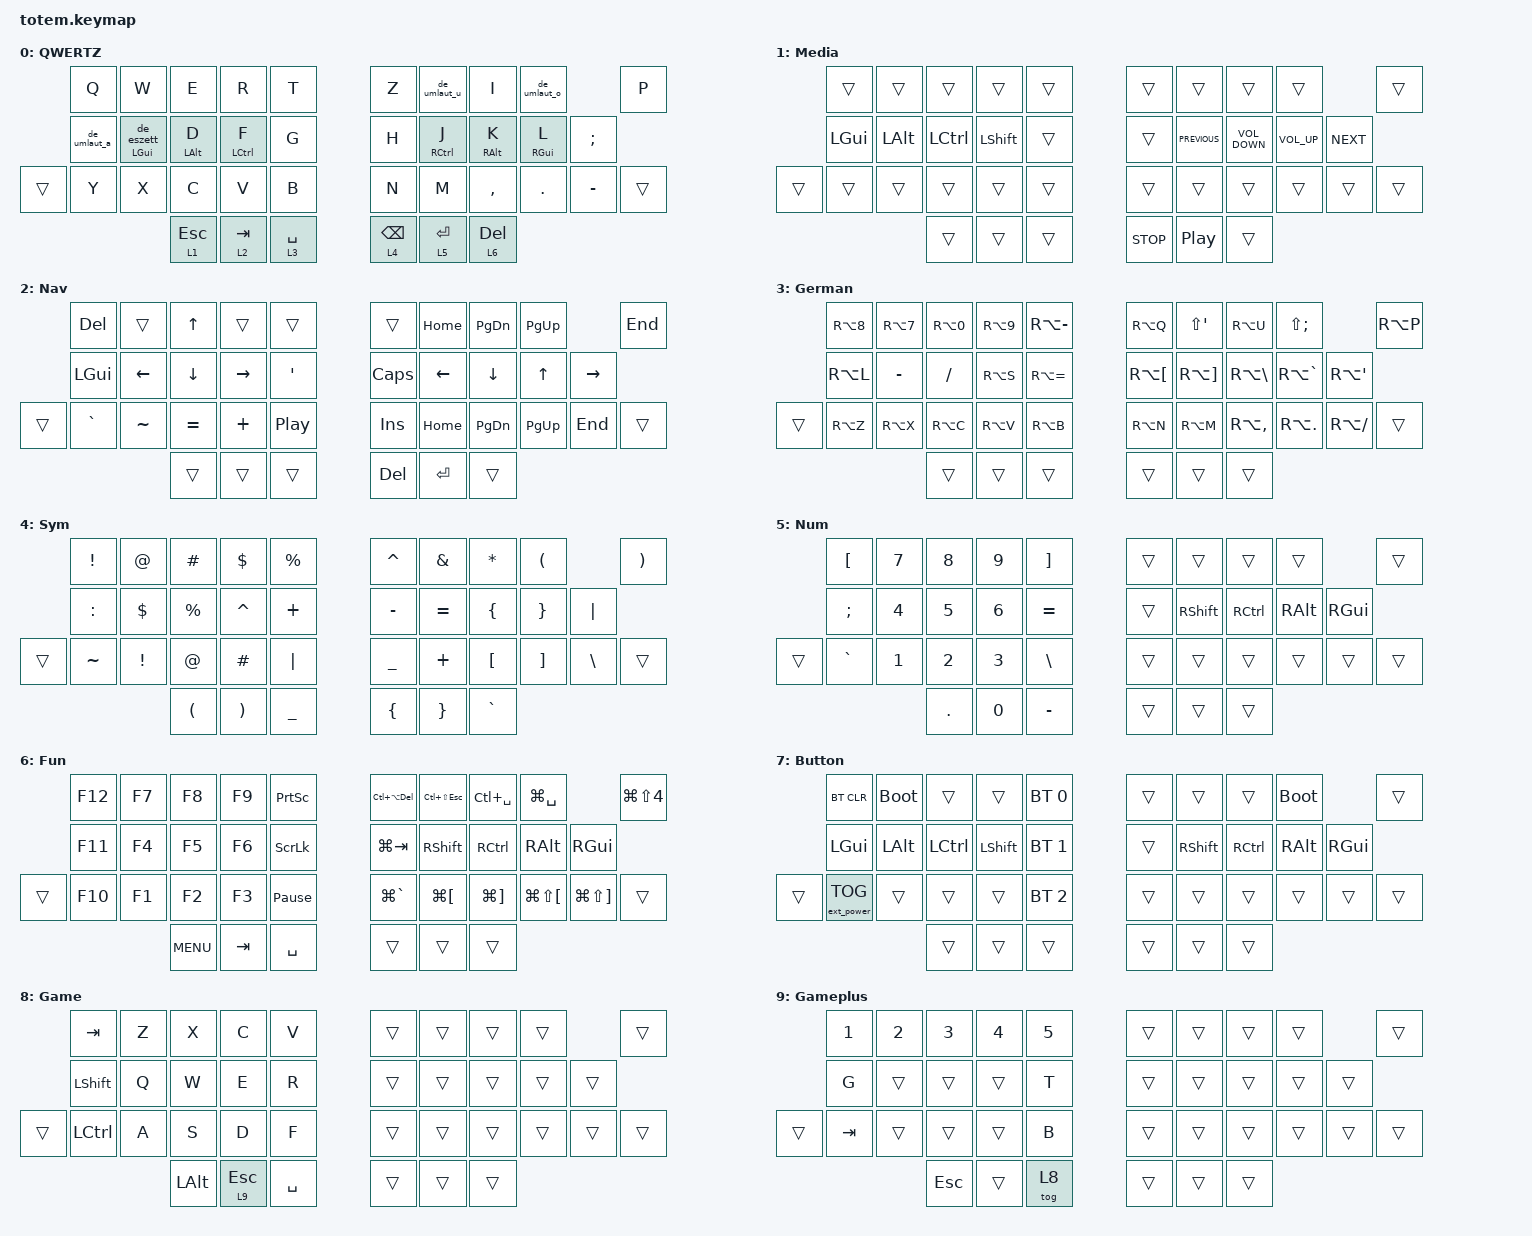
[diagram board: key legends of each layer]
//
//                                                        ▀▀▀▀▀     ▀▀▀▀▀          ▀▀█▀▀
//                                                        ▄▀▀▀▄  ▄  ▄▀▀▀▄  ▄  ▄▀▀▀▄  █  ▄▀▀▀▄
//                                                        █   █  █  █   █  █  █   █  █  █   █
//                                                         ▀▀▀   █   ▀▀▀   █   ▀▀▀   ▀   ▀▀▀
//                                                               █      ▄▄▄█▄▄▄    █   █  
//                                                               ▀      █  █  █     █▄█
//                                                             ▀▀▀▀▀    █  █  █      ▀
//                                                                      ▀  ▀  ▀
//
// ▄▄▄▄▄▄▄▄▄▄▄▄▄▄▄▄▄▄▄▄▄▄▄▄▄▄▄▄▄▄▄▄▄▄▄▄▄▄▄▄▄▄▄▄▄▄▄▄▄▄▄▄▄▄▄▄▄▄▄▄▄▄▄▄▄▄▄▄▄▄▄▄▄▄▄▄▄▄▄▄▄▄▄▄▄▄▄▄▄▄▄▄▄▄▄▄▄▄▄▄▄▄▄▄▄▄▄▄▄▄▄▄▄▄▄▄▄▄▄▄▄▄▄▄▄▄▄▄▄▄▄▄▄▄▄▄▄▄▄▄▄▄▄▄▄▄▄▄▄

#include <behaviors.dtsi>
#include <dt-bindings/zmk/keys.h>
#include <dt-bindings/zmk/bt.h>
#include <dt-bindings/zmk/outputs.h>
#include <dt-bindings/zmk/ext_power.h>

#define Base        0
#define Media       1
#define Nav         2
#define Mouse       3
#define Sym         4
#define Num         5
#define Fun         6
#define Button      7
#define Game        8
#define Gameplus    9

&mt {
    quick-tap-ms = <100>;
    global-quick-tap;
    flavor = "tap-preferred";
    tapping-term-ms = <170>;
};

&lt {
    tapping-term-ms = <240>;
    flavor = "balanced";
    quick-tap-ms = <150>;
};

/ {

    behaviors {
        hm: homerow_mods {
            compatible = "zmk,behavior-hold-tap";
            label = "HOMEROW_MODS";
            #binding-cells = <2>;
            flavor = "tap-preferred";
            tapping-term-ms = <240>;
            quick-tap-ms = <150>;
            global-quick-tap;
            bindings =
                <&kp>,
                <&kp>;
        };
        
        // German umlaut behaviors
        de_umlaut_a: german_umlaut_a {
            compatible = "zmk,behavior-mod-morph";
            label = "GERMAN_UMLAUT_A";
            #binding-cells = <0>;
            bindings = <&kp A>, <&kp LS(SINGLE_QUOTE)>;
            mods = <(MOD_LALT)>;
        };
        
        de_umlaut_o: german_umlaut_o {
            compatible = "zmk,behavior-mod-morph";
            label = "GERMAN_UMLAUT_O";
            #binding-cells = <0>;
            bindings = <&kp O>, <&kp LS(SEMICOLON)>;
            mods = <(MOD_LALT)>;
        };
        
        de_umlaut_u: german_umlaut_u {
            compatible = "zmk,behavior-mod-morph";
            label = "GERMAN_UMLAUT_U";
            #binding-cells = <0>;
            bindings = <&kp U>, <&kp SEMICOLON>;
            mods = <(MOD_LALT)>;
        };
        
        de_eszett: german_eszett {
            compatible = "zmk,behavior-mod-morph";
            label = "GERMAN_ESZETT";
            #binding-cells = <0>;
            bindings = <&kp S>, <&kp MINUS>;
            mods = <(MOD_LALT)>;
        };
    };

    keymap {
        compatible = "zmk,keymap";

    Base {
        label = "QWERTZ";
        bindings = <
                &kp Q       &kp W       &kp E         &kp R         &kp T                         &kp Z        &de_umlaut_u     &kp I       &de_umlaut_o               &kp P               
                &de_umlaut_a  &hm LGUI de_eszett  &hm LALT D   &hm LCTRL F  &kp G                 &kp H        &hm RCTRL J      &hm RALT K  &hm RGUI L  &kp SEMICOLON  
        &trans  &kp Y       &kp X       &kp C         &kp V         &kp B                         &kp N        &kp M            &kp COMMA   &kp DOT     &kp MINUS      &trans
                                        &lt 1 ESCAPE  &lt 2 TAB     &lt 3 SPACE                   &lt 4 BACKSPACE  &lt 5 ENTER  &lt 6 DELETE
        >;
    };

    Media {
        label = "Media";
        bindings = <
                &trans       &trans       &trans        &trans        &trans                      &trans            &trans             &trans           &trans           &trans  
                &kp LGUI     &kp LALT     &kp LCTRL     &kp LSHIFT    &trans                      &trans            &kp C_PREVIOUS     &kp C_VOLUME_DOWN &kp C_VOLUME_UP  &kp C_NEXT  
        &trans  &trans       &trans       &trans        &trans        &trans                      &trans            &trans             &trans           &trans           &trans       &trans
                                          &trans        &trans        &trans                      &kp C_STOP        &kp C_PLAY_PAUSE   &trans  
        >;
    };

    Nav {
        label = "Nav";
        bindings = <
                &kp DELETE   &trans       &kp UP        &trans        &trans                      &trans            &kp HOME           &kp PAGE_DOWN    &kp PAGE_UP      &kp END  
                &kp LGUI     &kp LEFT     &kp DOWN      &kp RIGHT     &kp SQT                     &kp CAPS          &kp LEFT           &kp DOWN         &kp UP           &kp RIGHT  
        &trans  &kp GRAVE    &kp TILDE    &kp EQUAL     &kp PLUS      &kp C_PLAY_PAUSE            &kp INSERT        &kp HOME           &kp PAGE_DOWN    &kp PAGE_UP      &kp END       &trans
                                          &trans        &trans        &trans                      &kp DELETE        &kp ENTER          &trans
        >;
    };

    Mouse {
        label = "German";
        bindings = <
                &kp RA(N8)   &kp RA(N7)   &kp RA(N0)    &kp RA(N9)    &kp RA(MINUS)              &kp RA(Q)         &kp LS(SINGLE_QUOTE) &kp RA(U)      &kp LS(SEMICOLON) &kp RA(P)  
                &kp RA(L)    &kp MINUS    &kp SLASH     &kp RA(S)     &kp RA(EQUAL)              &kp RA(LBKT)      &kp RA(RBKT)       &kp RA(BSLH)    &kp RA(GRAVE)    &kp RA(APOS)  
        &trans  &kp RA(Z)    &kp RA(X)    &kp RA(C)     &kp RA(V)     &kp RA(B)                  &kp RA(N)         &kp RA(M)          &kp RA(COMMA)   &kp RA(DOT)      &kp RA(SLASH) &trans
                                          &trans        &trans        &trans                      &trans            &trans             &trans
        >;
    };

    Sym {
        label = "Sym";
        bindings = <
                &kp EXCL     &kp AT       &kp HASH      &kp DOLLAR    &kp PERCENT                 &kp CARET         &kp AMPERSAND      &kp ASTERISK    &kp LPAR         &kp RPAR  
                &kp COLON    &kp DOLLAR   &kp PERCENT   &kp CARET     &kp PLUS                    &kp MINUS         &kp EQUAL          &kp LBRC        &kp RBRC         &kp PIPE  
        &trans  &kp TILDE    &kp EXCL     &kp AT        &kp HASH      &kp PIPE                    &kp UNDER         &kp PLUS           &kp LBKT        &kp RBKT         &kp BSLH      &trans
                                          &kp LPAR      &kp RPAR      &kp UNDER                   &kp LBRC          &kp RBRC           &kp GRAVE
        >;
    };

    Num {
        label = "Num";
        bindings = <
                &kp LBKT     &kp N7       &kp N8        &kp N9        &kp RBKT                    &trans            &trans             &trans          &trans           &trans  
                &kp SEMI     &kp N4       &kp N5        &kp N6        &kp EQUAL                   &trans            &kp RSHIFT         &kp RCTRL       &kp RALT         &kp RGUI  
        &trans  &kp GRAVE    &kp N1       &kp N2        &kp N3        &kp BSLH                    &trans            &trans             &trans          &trans           &trans       &trans
                                          &kp DOT       &kp N0        &kp MINUS                   &trans            &trans             &trans
        >;
    };

    Fun {
        label = "Fun";
        bindings = <
                &kp F12      &kp F7       &kp F8        &kp F9        &kp PRINTSCREEN             &kp LC(LA(DEL))   &kp LC(LS(ESCAPE)) &kp LC(SPACE)   &kp LG(SPACE)    &kp LG(LS(N4))  
                &kp F11      &kp F4       &kp F5        &kp F6        &kp SCROLLLOCK              &kp LG(TAB)       &kp RSHIFT         &kp RCTRL       &kp RALT         &kp RGUI  
        &trans  &kp F10      &kp F1       &kp F2        &kp F3        &kp PAUSE_BREAK             &kp LG(GRAVE)     &kp LG(LBKT)       &kp LG(RBKT)    &kp LG(LS(LBKT)) &kp LG(LS(RBKT)) &trans
                                          &kp C_MENU    &kp TAB       &kp SPACE                   &trans            &trans             &trans
        >;
    };

    Button {
        label = "Button";
        bindings = <
                &bt BT_CLR         &bootloader  &trans     &trans      &bt BT_SEL 0         &trans      &trans     &trans  &bootloader    &trans  
                &kp LGUI           &kp LALT     &kp LCTRL  &kp LSHIFT  &bt BT_SEL 1         &trans  &kp RSHIFT  &kp RCTRL     &kp RALT  &kp RGUI  
        &trans  &ext_power EP_TOG  &trans       &trans     &trans      &bt BT_SEL 2         &trans      &trans     &trans       &trans    &trans  &trans
                                                &trans     &trans      &trans               &trans      &trans     &trans
        >;
    };

    Game {
        label = "Game";
        bindings = <
                &kp TAB         &kp Z  &kp X       &kp C         &kp V            &trans  &trans  &trans  &trans  &trans  
                &kp LEFT_SHIFT  &kp Q  &kp W       &kp E         &kp R            &trans  &trans  &trans  &trans  &trans  
        &trans  &kp LCTRL       &kp A  &kp S       &kp D         &kp F            &trans  &trans  &trans  &trans  &trans  &trans
                                       &kp LALT    &lt 9 ESCAPE  &kp SPACE        &trans  &trans  &trans
        >;
    };

    Gameplus {
        label = "Gameplus";
        bindings = <
                &kp NUMBER_1  &kp NUMBER_2  &kp NUMBER_3  &kp NUMBER_4  &kp NUMBER_5        &trans  &trans  &trans  &trans  &trans  
                &kp G         &trans        &trans        &trans        &kp T               &trans  &trans  &trans  &trans  &trans  
        &trans  &kp TAB       &trans        &trans        &trans        &kp B               &trans  &trans  &trans  &trans  &trans  &trans
                                            &kp ESCAPE    &trans        &tog 8              &trans  &trans  &trans
        >;
    };
  };
};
